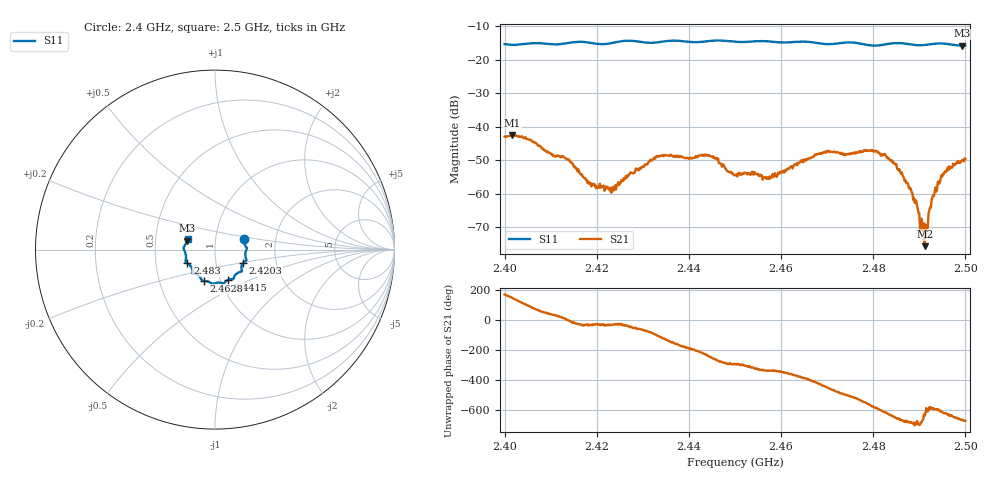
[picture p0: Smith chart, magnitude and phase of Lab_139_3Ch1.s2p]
# Hz S RI R 50
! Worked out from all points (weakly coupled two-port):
!   601 points, 2.4 GHz to 2.5 GHz, reference 50 ohm
!   highest |S21| = -42.45 dB at 2.4017 GHz (marker M1); lowest = -75.7 dB at 2.4912 GHz (marker M2)
!   lowest |S11| = -15.8 dB at 2.4993 GHz (marker M3), VSWR 1.39, Z = 36.4 + j3.67 ohm
!   |S11| at or under -10 dB: start of sweep to end of sweep
!   S12 and S22 are empty: the file has one direction only
!   S11 on the Smith chart (normalised r, x): 2.4 GHz: 1.38, +0.16; 2.4203 GHz: 1.35, -0.21; 2.4415 GHz: 1.09, -0.38; 2.4628 GHz: 0.83, -0.30; 2.483 GHz: 0.73, -0.11; 2.5 GHz: 0.73, +0.09
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2.4e9  0.1619 0.0568  -0.0069 0.00166  0 0  0 0
2.401667e9  0.1635 0.0394  -0.00607 0.00448  0 0  0 0
2.413e9  0.1702 -0.0419  0.00341 0.000425  0 0  0 0
2.416667e9  0.1755 -0.062  0.00158 -0.00105  0 0  0 0
2.420333e9  0.1559 -0.0746  0.00105 -0.000679  0 0  0 0
2.423667e9  0.1472 -0.105  0.000954 -0.000574  0 0  0 0
2.433333e9  0.1083 -0.1482  -0.00132 -0.0033  0 0  0 0
2.4415e9  0.0731 -0.1688  -0.00326 0.00163  0 0  0 0
2.445833e9  0.0495 -0.1884  -0.000241 0.00335  0 0  0 0
2.45e9  0.0296 -0.1844  0.000795 0.0017  0 0  0 0
2.457333e9  -0.0196 -0.1879  0.00157 0.000518  0 0  0 0
2.462833e9  -0.0626 -0.1743  0.00266 -0.000442  0 0  0 0
2.466667e9  -0.075 -0.1674  0.00233 -0.00259  0 0  0 0
2.4785e9  -0.1259 -0.1118  -0.00432 0.0012  0 0  0 0
2.483e9  -0.1542 -0.0764  -0.000413 0.00341  0 0  0 0
2.483333e9  -0.1565 -0.0753  -1.64e-05 0.00329  0 0  0 0
2.488e9  -0.1623 -0.0525  0.00102 0.000672  0 0  0 0
2.491167e9  -0.166 -0.0157  3.12e-05 0.000161  0 0  0 0
2.493e9  -0.1732 0.000821  -0.000626 0.000711  0 0  0 0
2.4945e9  -0.1758 0.00952  -0.000471 0.00144  0 0  0 0
2.499333e9  -0.1551 0.049  0.00199 0.00248  0 0  0 0
2.5e9  -0.1532 0.0577  0.00233 0.00233  0 0  0 0
